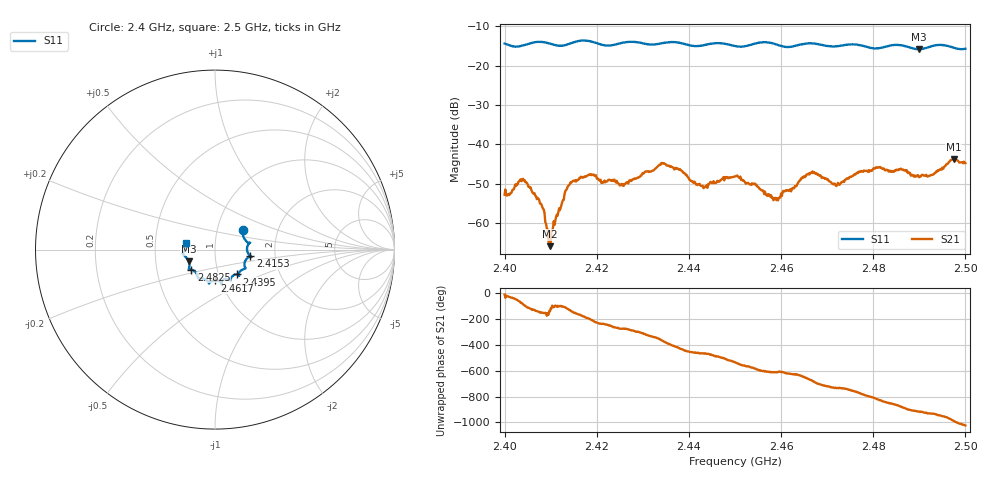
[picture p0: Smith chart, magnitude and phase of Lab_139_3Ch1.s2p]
# Hz S RI R 50
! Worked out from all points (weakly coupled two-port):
!   601 points, 2.4 GHz to 2.5 GHz, reference 50 ohm
!   highest |S21| = -43.73 dB at 2.4975 GHz (marker M1); lowest = -65.9 dB at 2.4098 GHz (marker M2)
!   lowest |S11| = -15.9 dB at 2.4898 GHz (marker M3), VSWR 1.38, Z = 36.9 - j4.93 ohm
!   |S11| at or under -10 dB: start of sweep to end of sweep
!   S12 and S22 are empty: the file has one direction only
!   S11 on the Smith chart (normalised r, x): 2.4 GHz: 1.33, +0.30; 2.4153 GHz: 1.48, -0.11; 2.4395 GHz: 1.22, -0.35; 2.4617 GHz: 0.94, -0.33; 2.4825 GHz: 0.75, -0.17; 2.5 GHz: 0.72, +0.05
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2.4e9  0.1563 0.1087  0.00223 -0.000499  0 0  0 0
2.4045e9  0.1783 0.0425  -0.000608 -0.00324  0 0  0 0
2.408e9  0.196 0.0388  -0.00152 -0.000811  0 0  0 0
2.409833e9  0.1872 0.0312  -0.000402 -0.000308  0 0  0 0
2.4135e9  0.1833 -0.018  -0.00134 -0.00234  0 0  0 0
2.415333e9  0.1968 -0.0371  -0.00312 -0.00155  0 0  0 0
2.416667e9  0.2036 -0.0413  -0.00382 -0.000412  0 0  0 0
2.4255e9  0.1675 -0.0987  0.000326 0.00299  0 0  0 0
2.433333e9  0.133 -0.1333  0.00524 0.000794  0 0  0 0
2.4395e9  0.1227 -0.1382  3.16e-05 -0.00408  0 0  0 0
2.4435e9  0.0882 -0.1603  -0.000816 -0.00278  0 0  0 0
2.45e9  0.0664 -0.1642  -0.00389 -0.000312  0 0  0 0
2.458833e9  0.0332 -0.1834  -0.000625 0.00199  0 0  0 0
2.461667e9  0.000718 -0.1719  -0.000319 0.00253  0 0  0 0
2.466667e9  -0.0339 -0.1886  0.00307 0.00302  0 0  0 0
2.472333e9  -0.0713 -0.1613  0.00314 -0.000782  0 0  0 0
2.477e9  -0.0953 -0.1554  0.00266 -0.00354  0 0  0 0
2.4825e9  -0.132 -0.1111  -0.00252 -0.00396  0 0  0 0
2.483333e9  -0.1393 -0.1104  -0.00294 -0.00339  0 0  0 0
2.489833e9  -0.1474 -0.0651  -0.00371 0.00108  0 0  0 0
2.4975e9  -0.1682 -0.0047  -0.000162 0.00651  0 0  0 0
2.5e9  -0.1598 0.0348  0.00319 0.00482  0 0  0 0
